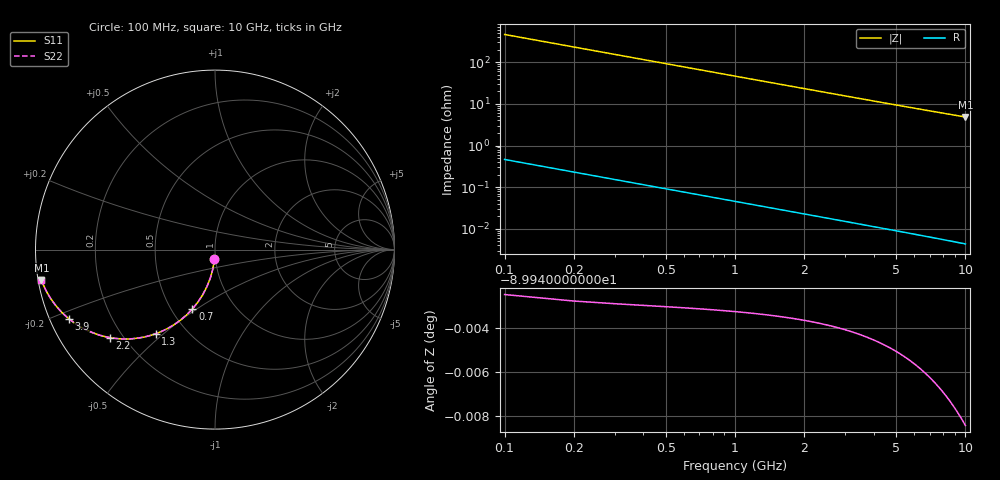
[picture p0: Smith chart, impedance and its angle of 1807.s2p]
# Hz S RI R 50.00
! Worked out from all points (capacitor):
!   100 points, 100 MHz to 10 GHz, reference 50 ohm
!   read as one part in shunt: C = 3.45 pF near 100 MHz
!   lowest |Z| = 4.84 ohm at 10 GHz (marker M1)
!   S11 on the Smith chart (normalised r, x): 100 MHz: 0.99, -0.11; 700 MHz: 0.63, -0.48; 1.3 GHz: 0.34, -0.47; 2.2 GHz: 0.15, -0.36; 3.9 GHz: 0.05, -0.22; 10 GHz: 0.01, -0.09
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1e8  -0.00297 -0.054  0.997 -0.0542  0.997 -0.0542  -0.00297 -0.054
2e8  -0.0117 -0.107  0.9882 -0.1074  0.9882 -0.1074  -0.0117 -0.107
3e8  -0.0259 -0.1582  0.974 -0.1587  0.974 -0.1587  -0.0259 -0.1582
4e8  -0.0451 -0.2068  0.9548 -0.2074  0.9548 -0.2074  -0.0451 -0.2068
5e8  -0.0687 -0.252  0.9313 -0.2528  0.9313 -0.2528  -0.0687 -0.252
6e8  -0.0959 -0.2935  0.904 -0.2945  0.904 -0.2945  -0.0959 -0.2935
7e8  -0.1261 -0.3309  0.8739 -0.3321  0.8739 -0.3321  -0.1261 -0.3309
8e8  -0.1585 -0.3641  0.8415 -0.3654  0.8415 -0.3654  -0.1585 -0.3641
1e9  -0.2271 -0.4177  0.7728 -0.4193  0.7728 -0.4193  -0.2271 -0.4177
1.3e9  -0.3315 -0.4692  0.6685 -0.4713  0.6685 -0.4713  -0.3315 -0.4692
1.5e9  -0.3974 -0.4876  0.6026 -0.4901  0.6026 -0.4901  -0.3974 -0.4876
1.8e9  -0.4867 -0.4978  0.5133 -0.5008  0.5133 -0.5008  -0.4867 -0.4978
2.2e9  -0.5856 -0.4903  0.4143 -0.4939  0.4143 -0.4939  -0.5856 -0.4903
2.5e9  -0.6457 -0.4757  0.3543 -0.4799  0.3543 -0.4799  -0.6457 -0.4757
2.8e9  -0.6954 -0.4574  0.3045 -0.4621  0.3045 -0.4621  -0.6954 -0.4574
3.4e9  -0.7706 -0.4171  0.2294 -0.4228  0.2294 -0.4228  -0.7706 -0.4171
3.9e9  -0.8152 -0.3843  0.1847 -0.3909  0.1847 -0.3909  -0.8152 -0.3843
4.5e9  -0.8543 -0.3484  0.1456 -0.3561  0.1456 -0.3561  -0.8543 -0.3484
5.1e9  -0.8827 -0.3169  0.1173 -0.3256  0.1173 -0.3256  -0.8827 -0.3169
6.7e9  -0.9284 -0.2514  0.0715 -0.263  0.0715 -0.263  -0.9284 -0.2514
8.4e9  -0.9533 -0.203  0.0466 -0.2176  0.0466 -0.2176  -0.9533 -0.203
1e10  -0.9667 -0.1699  0.0331 -0.1874  0.0331 -0.1874  -0.9667 -0.1699
